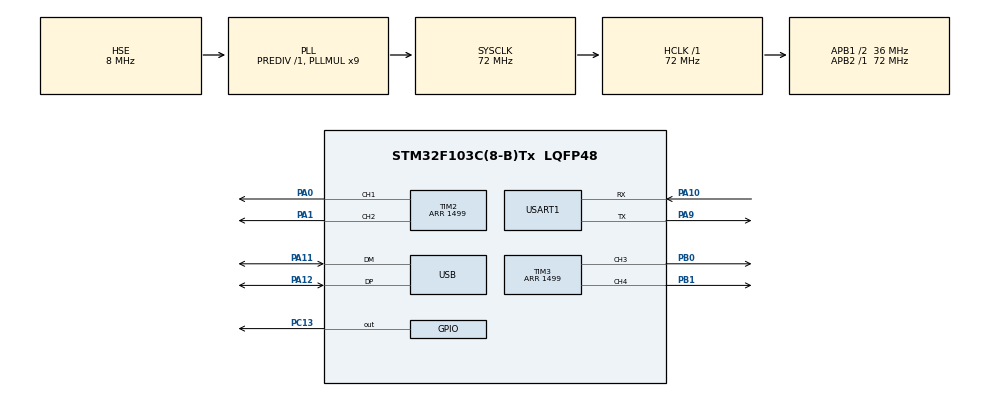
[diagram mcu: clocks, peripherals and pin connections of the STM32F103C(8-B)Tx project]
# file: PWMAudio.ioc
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Dma.Request0=TIM2_CH1
Dma.Request1=TIM2_CH2/CH4
Dma.Request2=TIM3_CH3
Dma.Request3=TIM3_CH4/UP
Dma.TIM2_CH1.0.Direction=DMA_MEMORY_TO_PERIPH
Dma.TIM2_CH1.0.Instance=DMA1_Channel5
Dma.TIM2_CH1.0.MemDataAlignment=DMA_MDATAALIGN_HALFWORD
Dma.TIM2_CH1.0.MemInc=DMA_MINC_ENABLE
Dma.TIM2_CH1.0.Mode=DMA_CIRCULAR
Dma.TIM2_CH1.0.PeriphDataAlignment=DMA_PDATAALIGN_HALFWORD
Dma.TIM2_CH1.0.PeriphInc=DMA_PINC_DISABLE
Dma.TIM2_CH1.0.Priority=DMA_PRIORITY_LOW
Dma.TIM2_CH2/CH4.1.Direction=DMA_MEMORY_TO_PERIPH
Dma.TIM2_CH2/CH4.1.Instance=DMA1_Channel7
Dma.TIM2_CH2/CH4.1.MemDataAlignment=DMA_MDATAALIGN_HALFWORD
Dma.TIM2_CH2/CH4.1.MemInc=DMA_MINC_ENABLE
Dma.TIM2_CH2/CH4.1.Mode=DMA_CIRCULAR
Dma.TIM2_CH2/CH4.1.PeriphDataAlignment=DMA_PDATAALIGN_HALFWORD
Dma.TIM2_CH2/CH4.1.PeriphInc=DMA_PINC_DISABLE
Dma.TIM2_CH2/CH4.1.Priority=DMA_PRIORITY_LOW
Dma.TIM3_CH3.2.Direction=DMA_MEMORY_TO_PERIPH
Dma.TIM3_CH3.2.Instance=DMA1_Channel2
Dma.TIM3_CH3.2.MemDataAlignment=DMA_MDATAALIGN_HALFWORD
Dma.TIM3_CH3.2.MemInc=DMA_MINC_ENABLE
Dma.TIM3_CH3.2.Mode=DMA_CIRCULAR
Dma.TIM3_CH3.2.PeriphDataAlignment=DMA_PDATAALIGN_HALFWORD
Dma.TIM3_CH3.2.PeriphInc=DMA_PINC_DISABLE
Dma.TIM3_CH3.2.Priority=DMA_PRIORITY_LOW
Dma.TIM3_CH4/UP.3.Direction=DMA_MEMORY_TO_PERIPH
Dma.TIM3_CH4/UP.3.Instance=DMA1_Channel3
Dma.TIM3_CH4/UP.3.MemDataAlignment=DMA_MDATAALIGN_HALFWORD
Dma.TIM3_CH4/UP.3.MemInc=DMA_MINC_ENABLE
Dma.TIM3_CH4/UP.3.Mode=DMA_CIRCULAR
Dma.TIM3_CH4/UP.3.PeriphDataAlignment=DMA_PDATAALIGN_HALFWORD
Dma.TIM3_CH4/UP.3.PeriphInc=DMA_PINC_DISABLE
Dma.TIM3_CH4/UP.3.Priority=DMA_PRIORITY_LOW
Mcu.Family=STM32F1
Mcu.Name=STM32F103C(8-B)Tx
Mcu.Package=LQFP48
NVIC.DMA1_Channel2_IRQn=true\:0\:0\:false\:false\:true\:false\:true\:true
NVIC.DMA1_Channel3_IRQn=true\:0\:0\:false\:false\:true\:false\:true\:true
NVIC.DMA1_Channel5_IRQn=true\:0\:0\:false\:false\:true\:false\:true\:true
NVIC.DMA1_Channel7_IRQn=true\:0\:0\:false\:false\:true\:false\:true\:true
NVIC.PriorityGroup=NVIC_PRIORITYGROUP_4
NVIC.USART1_IRQn=true\:0\:0\:false\:false\:true\:true\:true\:true
NVIC.USB_LP_CAN1_RX0_IRQn=true\:0\:0\:false\:false\:true\:false\:true\:true
PA0-WKUP.GPIO_Speed=GPIO_SPEED_FREQ_HIGH
PA0-WKUP.Signal=S_TIM2_CH1_ETR
PA1.GPIO_Speed=GPIO_SPEED_FREQ_HIGH
PA1.Signal=S_TIM2_CH2
PA10.Mode=Asynchronous
PA10.Signal=USART1_RX
PA11.Mode=Device
PA11.Signal=USB_DM
PA12.Mode=Device
PA12.Signal=USB_DP
PA13.Mode=Serial_Wire
PA13.Signal=SYS_JTMS-SWDIO
PA14.Mode=Serial_Wire
PA14.Signal=SYS_JTCK-SWCLK
PA9.Mode=Asynchronous
PA9.Signal=USART1_TX
PB0.Signal=S_TIM3_CH3
PB1.Signal=S_TIM3_CH4
PC13-TAMPER-RTC.GPIO_ModeDefaultOutputPP=GPIO_MODE_OUTPUT_OD
PC13-TAMPER-RTC.GPIO_PuPd=GPIO_NOPULL
PC13-TAMPER-RTC.Signal=GPIO_Output
PC14-OSC32_IN.Mode=LSE-External-Oscillator
PC14-OSC32_IN.Signal=RCC_OSC32_IN
PC15-OSC32_OUT.Mode=LSE-External-Oscillator
PC15-OSC32_OUT.Signal=RCC_OSC32_OUT
PD0-OSC_IN.Mode=HSE-External-Oscillator
PD0-OSC_IN.Signal=RCC_OSC_IN
PD1-OSC_OUT.Mode=HSE-External-Oscillator
PD1-OSC_OUT.Signal=RCC_OSC_OUT
ProjectManager.HeapSize=0x200
ProjectManager.StackSize=0x400
ProjectManager.TargetToolchain=STM32CubeIDE
RCC.AHBFreq_Value=72000000
RCC.APB1CLKDivider=RCC_HCLK_DIV2
RCC.APB1Freq_Value=36000000
RCC.APB1TimFreq_Value=72000000
RCC.APB2Freq_Value=72000000
RCC.APB2TimFreq_Value=72000000
RCC.HCLKFreq_Value=72000000
RCC.PLLMUL=RCC_PLL_MUL9
RCC.SYSCLKFreq_VALUE=72000000
RCC.SYSCLKSource=RCC_SYSCLKSOURCE_PLLCLK
RCC.USBFreq_Value=48000000
RCC.USBPrescaler=RCC_USBCLKSOURCE_PLL_DIV1_5
SH.S_TIM2_CH1_ETR.0=TIM2_CH1,PWM Generation1 CH1
SH.S_TIM2_CH2.0=TIM2_CH2,PWM Generation2 CH2
SH.S_TIM3_CH3.0=TIM3_CH3,PWM Generation3 CH3
SH.S_TIM3_CH4.0=TIM3_CH4,PWM Generation4 CH4
TIM1.Period=1
TIM1.TIM_MasterOutputTrigger=TIM_TRGO_UPDATE
TIM2.AutoReloadPreload=TIM_AUTORELOAD_PRELOAD_ENABLE
TIM2.Channel-PWM\ Generation1\ CH1=TIM_CHANNEL_1
TIM2.Channel-PWM\ Generation2\ CH2=TIM_CHANNEL_2
TIM2.OCFastMode_PWM-PWM\ Generation1\ CH1=TIM_OCFAST_DISABLE
TIM2.OCFastMode_PWM-PWM\ Generation2\ CH2=TIM_OCFAST_DISABLE
TIM2.Period=1499
TIM2.Pulse-PWM\ Generation1\ CH1=0
TIM2.Pulse-PWM\ Generation2\ CH2=0
TIM3.Period=1499
TIM3.AutoReloadPreload=TIM_AUTORELOAD_PRELOAD_ENABLE
TIM3.Channel-PWM\ Generation3\ CH3=TIM_CHANNEL_3
TIM3.Channel-PWM\ Generation4\ CH4=TIM_CHANNEL_4
USART1.VirtualMode=VM_ASYNC
USB_DEVICE.CLASS_NAME_FS=AUDIO
USB_DEVICE.MANUFACTURER_STRING=0xAA55
USB_DEVICE.PID_AUDIO_FS=1
USB_DEVICE.PRODUCT_STRING_AUDIO_FS=0xAA55 PWM Audio Class
USB_DEVICE.USBD_AUDIO_FREQ=48000
USB_DEVICE.VID=0xAA55
USB_DEVICE.VirtualMode=Audio
USB_DEVICE.VirtualModeFS=Audio_FS
VP_TIM1_VS_OPM.Mode=OPM_bit
VP_TIM2_VS_ClockSourceINT.Mode=Internal
VP_TIM2_VS_ClockSourceITR.Mode=TriggerSource_ITR0
VP_TIM2_VS_ControllerModeTrigger.Mode=Trigger Mode
VP_TIM3_VS_ClockSourceINT.Mode=Internal
VP_TIM3_VS_ClockSourceITR.Mode=TriggerSource_ITR0
VP_TIM3_VS_ControllerModeTrigger.Mode=Trigger Mode
VP_USB_DEVICE_VS_USB_DEVICE_AUDIO_FS.Mode=AUDIO_FS
board=custom

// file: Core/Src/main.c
/* USER CODE BEGIN Header */
/**
  ******************************************************************************
  * @file           : main.c
  * @brief          : Main program body
  ******************************************************************************
  * @attention
  *
  * Copyright (c) 2025 STMicroelectronics.
  * All rights reserved.
  *
  * This software is licensed under terms that can be found in the LICENSE file
  * in the root directory of this software component.
  * If no LICENSE file comes with this software, it is provided AS-IS.
  *
  ******************************************************************************
  */
/* USER CODE END Header */
#include "main.h"
#include "usb_device.h"

/* USER CODE BEGIN Includes */
#include "usbd_audio.h"
#include "usbd_audio_if.h"
#include "fifobuf.h"
/* USER CODE END Includes */

/* USER CODE BEGIN PM */
#define MAX_VOLUME 100
/* USER CODE END PM */

TIM_HandleTypeDef htim1;
TIM_HandleTypeDef htim2;
TIM_HandleTypeDef htim3;
DMA_HandleTypeDef hdma_tim2_ch1;
DMA_HandleTypeDef hdma_tim2_ch2_ch4;
DMA_HandleTypeDef hdma_tim3_ch3;
DMA_HandleTypeDef hdma_tim3_ch4_up;

UART_HandleTypeDef huart1;

/* USER CODE BEGIN PV */
USBD_AUDIO_HandleTypeDef haudio;
uint16_t pwm_ch1_buffer[BUFFER_SIZE];
uint16_t pwm_ch2_buffer[BUFFER_SIZE];
uint16_t pwm_ch3_buffer[BUFFER_SIZE];
uint16_t pwm_ch4_buffer[BUFFER_SIZE];
uint16_t* pwm_ch1_buffer_half = &pwm_ch1_buffer[BUFFER_SIZE / 2];
uint16_t* pwm_ch2_buffer_half = &pwm_ch2_buffer[BUFFER_SIZE / 2];
uint16_t* pwm_ch3_buffer_half = &pwm_ch3_buffer[BUFFER_SIZE / 2];
uint16_t* pwm_ch4_buffer_half = &pwm_ch4_buffer[BUFFER_SIZE / 2];
int usb_connected = 0;
int is_muted_all = 0;
int volume_all = MAX_VOLUME;
int volume_l = MAX_VOLUME;
int volume_r = MAX_VOLUME;
const int max_volume = MAX_VOLUME;
DEFINE_FIFOBUF(stdi, fb, 512);
DEFINE_FIFOBUF(stdo, fb, 512);
uint32_t uart_buf = 0;
/* USER CODE END PV */

void SystemClock_Config(void);
static void MX_GPIO_Init(void);
static void MX_DMA_Init(void);
static void MX_TIM2_Init(void);
static void MX_USART1_UART_Init(void);
static void MX_TIM1_Init(void);
static void MX_TIM3_Init(void);

/* USER CODE BEGIN 0 */
int __io_getchar(void)
{
  int ret = 0;
  size_t read = fifobuf_read(&stdi.fb, &ret, 1);
  if (!read) ret = EOF;
  return ret;
}
int __io_putchar(int ch)
{
  fifobuf_write(&stdo.fb, &ch, 1);
  return 1;
}
int _read(int file, char *ptr, int len)
{
  (void)file;
  return (int)fifobuf_read(&stdi.fb, ptr, len);
}
int _write(int file, char *ptr, int len)
{
  int written = (int)fifobuf_write(&stdo.fb, ptr, len);
  return written;
}
size_t write_to_stdin_buffer(void *data, size_t len)
{
  return fifobuf_write(&stdi.fb, data, len);
}
void HAL_UART_RxCpltCallback(UART_HandleTypeDef *huart)
{
  if (huart->Instance == USART1)
  {
    write_to_stdin_buffer(&uart_buf, 1);
    HAL_UART_Receive_IT(huart, (uint8_t*)&uart_buf, 1);
  }
}
void UART_StartReceive()
{
  HAL_UART_Receive_IT(&huart1, (uint8_t*)&uart_buf, 1);
}
void Main_ResetDMAPosition()
{
  HAL_DMA_Abort_IT(&hdma_tim2_ch1);
  HAL_DMA_Abort(&hdma_tim2_ch2_ch4);
  HAL_DMA_Abort(&hdma_tim3_ch3);
  HAL_DMA_Abort(&hdma_tim3_ch4_up);
  HAL_DMA_Start_IT(&hdma_tim2_ch1,  (uint32_t)&pwm_ch1_buffer, (uint32_t)&TIM2->CCR1, BUFFER_SIZE);
  HAL_DMA_Start(&hdma_tim2_ch2_ch4, (uint32_t)&pwm_ch2_buffer, (uint32_t)&TIM2->CCR2, BUFFER_SIZE);
  HAL_DMA_Start(&hdma_tim3_ch3,     (uint32_t)&pwm_ch3_buffer, (uint32_t)&TIM3->CCR3, BUFFER_SIZE);
  HAL_DMA_Start(&hdma_tim3_ch4_up,  (uint32_t)&pwm_ch4_buffer, (uint32_t)&TIM3->CCR4, BUFFER_SIZE);
}
int Main_IsPlayTimerOn()
{
  return
    (htim2.Instance->CR1 & TIM_CR1_CEN ? 1 : 0) ||
    (htim3.Instance->CR1 & TIM_CR1_CEN ? 1 : 0);
}
void Main_StartPlayTimer()
{
  if (!Main_IsPlayTimerOn())
  {
    HAL_TIM_Base_Start(&htim1);
  }
}
void Main_StopPlayTimer()
{
  if (Main_IsPlayTimerOn())
  {
    HAL_TIM_Base_Stop(&htim2);
    HAL_TIM_Base_Stop(&htim3);
  }
}
void ConvertS16LEStereoToPWM(uint8_t *Buffer, uint16_t *Target_L_P, uint16_t *Target_L_M, uint16_t *Target_R_P, uint16_t *Target_R_M, size_t Count)
{
  int16_t* S16LEInterleaved = (int16_t*)Buffer;
  for (size_t i = 0; i < Count; i++)
  {
    int S16_L = S16LEInterleaved[i * 2 + 0];
    int S16_R = S16LEInterleaved[i * 2 + 1];
    if (is_muted_all)
    {
      S16_L = 0;
      S16_R = 0;
    }
    else
    {
      S16_L = S16_L * volume_all / max_volume;
      S16_R = S16_R * volume_all / max_volume;
      S16_L = S16_L * volume_l / max_volume;
      S16_R = S16_R * volume_r / max_volume;
    }
    uint16_t PWM_L_P = 0;
    uint16_t PWM_L_M = 0;
    uint16_t PWM_R_P = 0;
    uint16_t PWM_R_M = 0;
    if (S16_L >= 0) PWM_L_P = (uint16_t)((S16_L) * 1500 / 32767);
    else            PWM_L_M = (uint16_t)((-S16_L - 1) * 1500 / 32767);
    if (S16_R >= 0) PWM_R_P = (uint16_t)((S16_R) * 1500 / 32767);
    else            PWM_R_M = (uint16_t)((-S16_R - 1) * 1500 / 32767);
    Target_L_P[i] = PWM_L_P;
    Target_L_M[i] = PWM_L_M;
    Target_R_P[i] = PWM_R_P;
    Target_R_M[i] = PWM_R_M;
    S16LEInterleaved[i * 2 + 0] = 0;
    S16LEInterleaved[i * 2 + 1] = 0;
  }
}
void MainDMAOnHalf(DMA_HandleTypeDef *hdma)
{
  ConvertS16LEStereoToPWM
  (
    &haudio.buffer[0],
    pwm_ch1_buffer,
    pwm_ch2_buffer,
    pwm_ch3_buffer,
    pwm_ch4_buffer,
    BUFFER_SIZE / 2
  );
}
void MainDMAOnCplt(DMA_HandleTypeDef *hdma)
{
  ConvertS16LEStereoToPWM
  (
    &haudio.buffer[AUDIO_HALF_BUF_SIZE],
    pwm_ch1_buffer_half,
    pwm_ch2_buffer_half,
    pwm_ch3_buffer_half,
    pwm_ch4_buffer_half,
    BUFFER_SIZE / 2
  );
}
/* USER CODE END 0 */

int main(void)
{

  /* MCU Configuration--------------------------------------------------------*/

  /* Reset of all peripherals, Initializes the Flash interface and the Systick. */
  HAL_Init();

  /* Configure the system clock */
  SystemClock_Config();

  /* USER CODE BEGIN SysInit */
  fifobuf_init(&stdi.fb, 512);
  fifobuf_init(&stdo.fb, 512);
  /* USER CODE END SysInit */

  /* Initialize all configured peripherals */
  MX_GPIO_Init();
  MX_DMA_Init();
  MX_USB_DEVICE_Init();
  MX_USART1_UART_Init();
  MX_TIM1_Init();
  MX_TIM2_Init();
  MX_TIM3_Init();
  /* USER CODE BEGIN 2 */
  UART_StartReceive();
  memset(pwm_ch1_buffer, 0, sizeof pwm_ch1_buffer);
  memset(pwm_ch2_buffer, 0, sizeof pwm_ch2_buffer);
  memset(pwm_ch3_buffer, 0, sizeof pwm_ch3_buffer);
  memset(pwm_ch4_buffer, 0, sizeof pwm_ch4_buffer);
  HAL_DMA_RegisterCallback(&hdma_tim2_ch1, HAL_DMA_XFER_CPLT_CB_ID, MainDMAOnCplt);
  HAL_DMA_RegisterCallback(&hdma_tim2_ch1, HAL_DMA_XFER_HALFCPLT_CB_ID, MainDMAOnHalf);
  __HAL_TIM_ENABLE_DMA(&htim2, TIM_DMA_CC1 | TIM_DMA_CC2);
  __HAL_TIM_ENABLE_DMA(&htim3, TIM_DMA_CC3 | TIM_DMA_CC4);
  HAL_TIM_PWM_Start(&htim2, TIM_CHANNEL_1);
  HAL_TIM_PWM_Start(&htim2, TIM_CHANNEL_2);
  HAL_TIM_PWM_Start(&htim3, TIM_CHANNEL_3);
  HAL_TIM_PWM_Start(&htim3, TIM_CHANNEL_4);
  Main_ResetDMAPosition();
  Main_StartPlayTimer();
  printf("All periph Initialized.\r\n");
  /* USER CODE END 2 */

  /* Infinite loop */
  /* USER CODE BEGIN WHILE */
  while (1)
  {
    if (!usb_connected)
    {
      if (HAL_GetTick() % 1000 > 500)
        HAL_GPIO_WritePin(GPIOC, GPIO_PIN_13, GPIO_PIN_RESET);
      else
        HAL_GPIO_WritePin(GPIOC, GPIO_PIN_13, GPIO_PIN_SET);
    }
    if (stdi.fb.length)
    {
      size_t len = stdi.fb.length;
      char *ptr = fifobuf_map_read(&stdi.fb, len);
      _write(0, ptr, len);
    }
    if (stdo.fb.length)
    {
      size_t len = stdo.fb.length;
      const uint8_t *ptr = fifobuf_map_read(&stdo.fb, len);
      HAL_UART_Transmit(&huart1, ptr, len, HAL_MAX_DELAY);
    }
    /* USER CODE END WHILE */

  }
}

void SystemClock_Config(void)
{
  RCC_OscInitTypeDef RCC_OscInitStruct = {0};
  RCC_ClkInitTypeDef RCC_ClkInitStruct = {0};
  RCC_PeriphCLKInitTypeDef PeriphClkInit = {0};

  /** Initializes the RCC Oscillators according to the specified parameters
  * in the RCC_OscInitTypeDef structure.
  */
  RCC_OscInitStruct.OscillatorType = RCC_OSCILLATORTYPE_HSE;
  RCC_OscInitStruct.HSEState = RCC_HSE_ON;
  RCC_OscInitStruct.HSEPredivValue = RCC_HSE_PREDIV_DIV1;
  RCC_OscInitStruct.HSIState = RCC_HSI_ON;
  RCC_OscInitStruct.PLL.PLLState = RCC_PLL_ON;
  RCC_OscInitStruct.PLL.PLLSource = RCC_PLLSOURCE_HSE;
  RCC_OscInitStruct.PLL.PLLMUL = RCC_PLL_MUL9;
  if (HAL_RCC_OscConfig(&RCC_OscInitStruct) != HAL_OK)
  {
    Error_Handler();
  }

  /** Initializes the CPU, AHB and APB buses clocks
  */
  RCC_ClkInitStruct.ClockType = RCC_CLOCKTYPE_HCLK|RCC_CLOCKTYPE_SYSCLK
                              |RCC_CLOCKTYPE_PCLK1|RCC_CLOCKTYPE_PCLK2;
  RCC_ClkInitStruct.SYSCLKSource = RCC_SYSCLKSOURCE_PLLCLK;
  RCC_ClkInitStruct.AHBCLKDivider = RCC_SYSCLK_DIV1;
  RCC_ClkInitStruct.APB1CLKDivider = RCC_HCLK_DIV2;
  RCC_ClkInitStruct.APB2CLKDivider = RCC_HCLK_DIV1;

  if (HAL_RCC_ClockConfig(&RCC_ClkInitStruct, FLASH_LATENCY_2) != HAL_OK)
  {
    Error_Handler();
  }
  PeriphClkInit.PeriphClockSelection = RCC_PERIPHCLK_USB;
  PeriphClkInit.UsbClockSelection = RCC_USBCLKSOURCE_PLL_DIV1_5;
  if (HAL_RCCEx_PeriphCLKConfig(&PeriphClkInit) != HAL_OK)
  {
    Error_Handler();
  }
}

static void MX_TIM1_Init(void)
{

  TIM_MasterConfigTypeDef sMasterConfig = {0};

  htim1.Instance = TIM1;
  htim1.Init.Prescaler = 0;
  htim1.Init.CounterMode = TIM_COUNTERMODE_UP;
  htim1.Init.Period = 1;
  htim1.Init.ClockDivision = TIM_CLOCKDIVISION_DIV1;
  htim1.Init.RepetitionCounter = 0;
  htim1.Init.AutoReloadPreload = TIM_AUTORELOAD_PRELOAD_DISABLE;
  if (HAL_TIM_OnePulse_Init(&htim1, TIM_OPMODE_SINGLE) != HAL_OK)
  {
    Error_Handler();
  }
  sMasterConfig.MasterOutputTrigger = TIM_TRGO_UPDATE;
  sMasterConfig.MasterSlaveMode = TIM_MASTERSLAVEMODE_DISABLE;
  if (HAL_TIMEx_MasterConfigSynchronization(&htim1, &sMasterConfig) != HAL_OK)
  {
    Error_Handler();
  }
  /* USER CODE BEGIN TIM1_Init 2 */
  HAL_TIM_OnePulse_MspInit(&htim1);
  /* USER CODE END TIM1_Init 2 */

}

static void MX_TIM2_Init(void)
{

  TIM_ClockConfigTypeDef sClockSourceConfig = {0};
  TIM_SlaveConfigTypeDef sSlaveConfig = {0};
  TIM_MasterConfigTypeDef sMasterConfig = {0};
  TIM_OC_InitTypeDef sConfigOC = {0};

  htim2.Instance = TIM2;
  htim2.Init.Prescaler = 0;
  htim2.Init.CounterMode = TIM_COUNTERMODE_UP;
  htim2.Init.Period = 1499;
  htim2.Init.ClockDivision = TIM_CLOCKDIVISION_DIV1;
  htim2.Init.AutoReloadPreload = TIM_AUTORELOAD_PRELOAD_ENABLE;
  if (HAL_TIM_Base_Init(&htim2) != HAL_OK)
  {
    Error_Handler();
  }
  sClockSourceConfig.ClockSource = TIM_CLOCKSOURCE_INTERNAL;
  if (HAL_TIM_ConfigClockSource(&htim2, &sClockSourceConfig) != HAL_OK)
  {
    Error_Handler();
  }
  if (HAL_TIM_PWM_Init(&htim2) != HAL_OK)
  {
    Error_Handler();
  }
  sSlaveConfig.SlaveMode = TIM_SLAVEMODE_TRIGGER;
  sSlaveConfig.InputTrigger = TIM_TS_ITR0;
  if (HAL_TIM_SlaveConfigSynchro(&htim2, &sSlaveConfig) != HAL_OK)
  {
    Error_Handler();
  }
  sMasterConfig.MasterOutputTrigger = TIM_TRGO_RESET;
  sMasterConfig.MasterSlaveMode = TIM_MASTERSLAVEMODE_DISABLE;
  if (HAL_TIMEx_MasterConfigSynchronization(&htim2, &sMasterConfig) != HAL_OK)
  {
    Error_Handler();
  }
  sConfigOC.OCMode = TIM_OCMODE_PWM1;
  sConfigOC.Pulse = 0;
  sConfigOC.OCPolarity = TIM_OCPOLARITY_HIGH;
  sConfigOC.OCFastMode = TIM_OCFAST_DISABLE;
  if (HAL_TIM_PWM_ConfigChannel(&htim2, &sConfigOC, TIM_CHANNEL_1) != HAL_OK)
  {
    Error_Handler();
  }
  if (HAL_TIM_PWM_ConfigChannel(&htim2, &sConfigOC, TIM_CHANNEL_2) != HAL_OK)
  {
    Error_Handler();
  }
  /* USER CODE BEGIN TIM2_Init 2 */
  HAL_TIM_Base_MspInit(&htim2);
  /* USER CODE END TIM2_Init 2 */
  HAL_TIM_MspPostInit(&htim2);
}

static void MX_TIM3_Init(void)
{

  TIM_ClockConfigTypeDef sClockSourceConfig = {0};
  TIM_SlaveConfigTypeDef sSlaveConfig = {0};
  TIM_MasterConfigTypeDef sMasterConfig = {0};
  TIM_OC_InitTypeDef sConfigOC = {0};

  htim3.Instance = TIM3;
  htim3.Init.Prescaler = 0;
  htim3.Init.CounterMode = TIM_COUNTERMODE_UP;
  htim3.Init.Period = 1499;
  htim3.Init.ClockDivision = TIM_CLOCKDIVISION_DIV1;
  htim3.Init.AutoReloadPreload = TIM_AUTORELOAD_PRELOAD_ENABLE;
  if (HAL_TIM_Base_Init(&htim3) != HAL_OK)
  {
    Error_Handler();
  }
  sClockSourceConfig.ClockSource = TIM_CLOCKSOURCE_INTERNAL;
  if (HAL_TIM_ConfigClockSource(&htim3, &sClockSourceConfig) != HAL_OK)
  {
    Error_Handler();
  }
  if (HAL_TIM_PWM_Init(&htim3) != HAL_OK)
  {
    Error_Handler();
  }
  sSlaveConfig.SlaveMode = TIM_SLAVEMODE_TRIGGER;
  sSlaveConfig.InputTrigger = TIM_TS_ITR0;
  if (HAL_TIM_SlaveConfigSynchro(&htim3, &sSlaveConfig) != HAL_OK)
  {
    Error_Handler();
  }
  sMasterConfig.MasterOutputTrigger = TIM_TRGO_RESET;
  sMasterConfig.MasterSlaveMode = TIM_MASTERSLAVEMODE_DISABLE;
  if (HAL_TIMEx_MasterConfigSynchronization(&htim3, &sMasterConfig) != HAL_OK)
  {
    Error_Handler();
  }
  sConfigOC.OCMode = TIM_OCMODE_PWM1;
  sConfigOC.Pulse = 0;
  sConfigOC.OCPolarity = TIM_OCPOLARITY_HIGH;
  sConfigOC.OCFastMode = TIM_OCFAST_DISABLE;
  if (HAL_TIM_PWM_ConfigChannel(&htim3, &sConfigOC, TIM_CHANNEL_3) != HAL_OK)
  {
    Error_Handler();
  }
  if (HAL_TIM_PWM_ConfigChannel(&htim3, &sConfigOC, TIM_CHANNEL_4) != HAL_OK)
  {
    Error_Handler();
  }
  /* USER CODE BEGIN TIM3_Init 2 */
  HAL_TIM_Base_MspInit(&htim3);
  /* USER CODE END TIM3_Init 2 */
  HAL_TIM_MspPostInit(&htim3);

}

static void MX_USART1_UART_Init(void)
{

  huart1.Instance = USART1;
  huart1.Init.BaudRate = 115200;
  huart1.Init.WordLength = UART_WORDLENGTH_8B;
  huart1.Init.StopBits = UART_STOPBITS_1;
  huart1.Init.Parity = UART_PARITY_NONE;
  huart1.Init.Mode = UART_MODE_TX_RX;
  huart1.Init.HwFlowCtl = UART_HWCONTROL_NONE;
  huart1.Init.OverSampling = UART_OVERSAMPLING_16;
  if (HAL_UART_Init(&huart1) != HAL_OK)
  {
    Error_Handler();
  }
  /* USER CODE BEGIN USART1_Init 2 */
  HAL_UART_MspInit(&huart1);
  /* USER CODE END USART1_Init 2 */

}

static void MX_DMA_Init(void)
{

  /* DMA controller clock enable */
  __HAL_RCC_DMA1_CLK_ENABLE();

  /* DMA interrupt init */
  /* DMA1_Channel2_IRQn interrupt configuration */
  HAL_NVIC_SetPriority(DMA1_Channel2_IRQn, 0, 0);
  HAL_NVIC_EnableIRQ(DMA1_Channel2_IRQn);
  /* DMA1_Channel3_IRQn interrupt configuration */
  HAL_NVIC_SetPriority(DMA1_Channel3_IRQn, 0, 0);
  HAL_NVIC_EnableIRQ(DMA1_Channel3_IRQn);
  /* DMA1_Channel5_IRQn interrupt configuration */
  HAL_NVIC_SetPriority(DMA1_Channel5_IRQn, 0, 0);
  HAL_NVIC_EnableIRQ(DMA1_Channel5_IRQn);
  /* DMA1_Channel7_IRQn interrupt configuration */
  HAL_NVIC_SetPriority(DMA1_Channel7_IRQn, 0, 0);
  HAL_NVIC_EnableIRQ(DMA1_Channel7_IRQn);

}

static void MX_GPIO_Init(void)
{
  GPIO_InitTypeDef GPIO_InitStruct = {0};

  /* GPIO Ports Clock Enable */
  __HAL_RCC_GPIOC_CLK_ENABLE();
  __HAL_RCC_GPIOD_CLK_ENABLE();
  __HAL_RCC_GPIOA_CLK_ENABLE();
  __HAL_RCC_GPIOB_CLK_ENABLE();

  /*Configure GPIO pin Output Level */
  HAL_GPIO_WritePin(GPIOC, GPIO_PIN_13, GPIO_PIN_RESET);

  /*Configure GPIO pin : PC13 */
  GPIO_InitStruct.Pin = GPIO_PIN_13;
  GPIO_InitStruct.Mode = GPIO_MODE_OUTPUT_OD;
  GPIO_InitStruct.Pull = GPIO_NOPULL;
  GPIO_InitStruct.Speed = GPIO_SPEED_FREQ_LOW;
  HAL_GPIO_Init(GPIOC, &GPIO_InitStruct);

  /*Configure GPIO pins : PA2 PA3 PA4 PA5
                           PA6 PA7 PA8 PA15 */
  GPIO_InitStruct.Pin = GPIO_PIN_2|GPIO_PIN_3|GPIO_PIN_4|GPIO_PIN_5
                          |GPIO_PIN_6|GPIO_PIN_7|GPIO_PIN_8|GPIO_PIN_15;
  GPIO_InitStruct.Mode = GPIO_MODE_ANALOG;
  HAL_GPIO_Init(GPIOA, &GPIO_InitStruct);

  /*Configure GPIO pins : PB2 PB10 PB11 PB12
                           PB13 PB14 PB15 PB3
                           PB4 PB5 PB6 PB7
                           PB8 PB9 */
  GPIO_InitStruct.Pin = GPIO_PIN_2|GPIO_PIN_10|GPIO_PIN_11|GPIO_PIN_12
                          |GPIO_PIN_13|GPIO_PIN_14|GPIO_PIN_15|GPIO_PIN_3
                          |GPIO_PIN_4|GPIO_PIN_5|GPIO_PIN_6|GPIO_PIN_7
                          |GPIO_PIN_8|GPIO_PIN_9;
  GPIO_InitStruct.Mode = GPIO_MODE_ANALOG;
  HAL_GPIO_Init(GPIOB, &GPIO_InitStruct);

}

void Error_Handler(void)
{
  __disable_irq();
  while (1)
  {
  }
}
